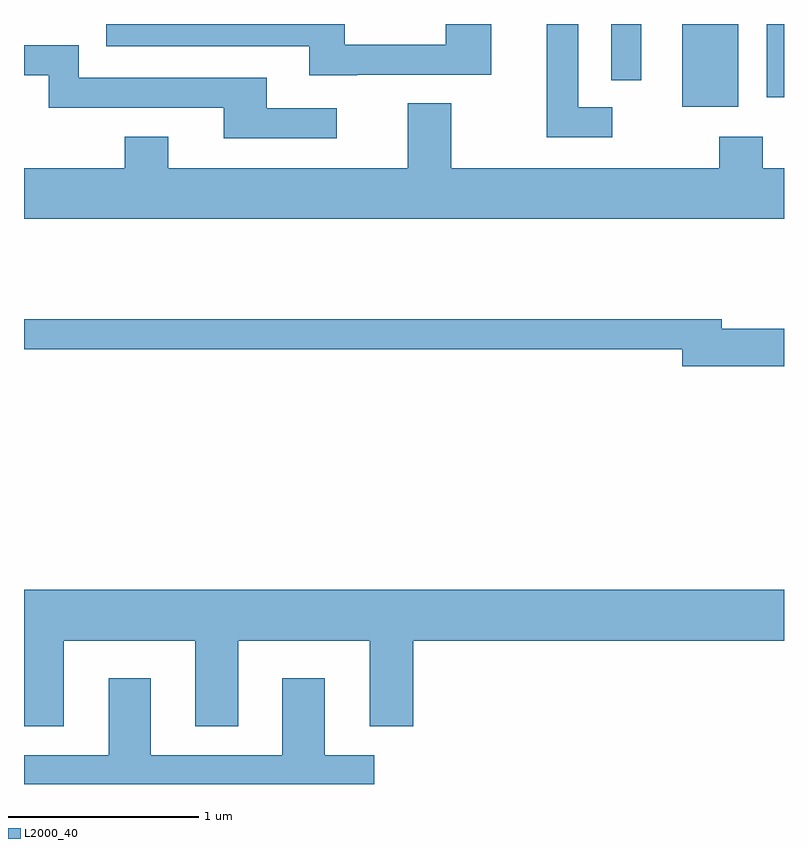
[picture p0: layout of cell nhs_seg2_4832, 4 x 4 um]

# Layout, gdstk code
import gdstk
lib = gdstk.Library(unit=1e-6, precision=1e-09)
def R(c, l, rs):  # rectangles x0, y0, x1, y1
    for r in rs: c.add(gdstk.rectangle(r[:2], r[2:], *l))
def P(c, l, *ps):  # polygons
    for p in ps: c.add(gdstk.Polygon(p, *l))
L2000_40 = (2000, 40)

nhs_seg2_4832 = lib.new_cell('nhs_seg2_4832')
R(nhs_seg2_4832, L2000_40, [(331.076,1033.366,331.369,1033.802), (331.521,1033.416,331.611,1033.802), (330.701,1033.507,330.859,1033.802)])
P(nhs_seg2_4832, L2000_40, [(329.365,1033.536),(330.069,1033.536),(330.069,1033.802),(329.831,1033.802),(329.831,1033.694),(329.299,1033.694),(329.299,1033.802),(328.043,1033.802),(328.043,1033.686),(329.111,1033.686),(329.111,1033.531),(329.365,1033.531)],
  [(330.708,1033.364),(330.529,1033.364),(330.529,1033.802),(330.361,1033.802),(330.361,1033.206),(330.708,1033.206)],
  [(329.258,1033.359),(328.889,1033.359),(328.889,1033.519),(327.899,1033.519),(327.899,1033.689),(327.611,1033.689),(327.611,1033.531),(327.741,1033.531),(327.741,1033.361),(328.661,1033.361),(328.661,1033.201),(329.258,1033.201)],
  [(331.611,1033.044),(331.499,1033.044),(331.499,1033.209),(331.271,1033.209),(331.271,1033.044),(329.859,1033.044),(329.859,1033.384),(329.631,1033.384),(329.631,1033.044),(328.369,1033.044),(328.369,1033.209),(328.141,1033.209),(328.141,1033.044),(327.611,1033.044),(327.611,1032.776),(331.611,1032.776)],
  [(331.611,1032.199),(331.284,1032.199),(331.284,1032.249),(327.611,1032.249),(327.611,1032.091),(331.076,1032.091),(331.076,1032.001),(331.611,1032.001)],
  [(327.819,1030.556),(328.511,1030.556),(328.511,1030.106),(328.739,1030.106),(328.739,1030.556),(329.431,1030.556),(329.431,1030.106),(329.659,1030.106),(329.659,1030.556),(331.611,1030.556),(331.611,1030.824),(327.611,1030.824),(327.611,1030.106),(327.819,1030.106)],
  [(329.454,1029.954),(329.194,1029.954),(329.194,1030.359),(328.971,1030.359),(328.971,1029.954),(328.279,1029.954),(328.279,1030.359),(328.056,1030.359),(328.056,1029.954),(327.611,1029.954),(327.611,1029.802),(329.454,1029.802)])

lib.write_gds('nhs_seg2_4832.gds')
